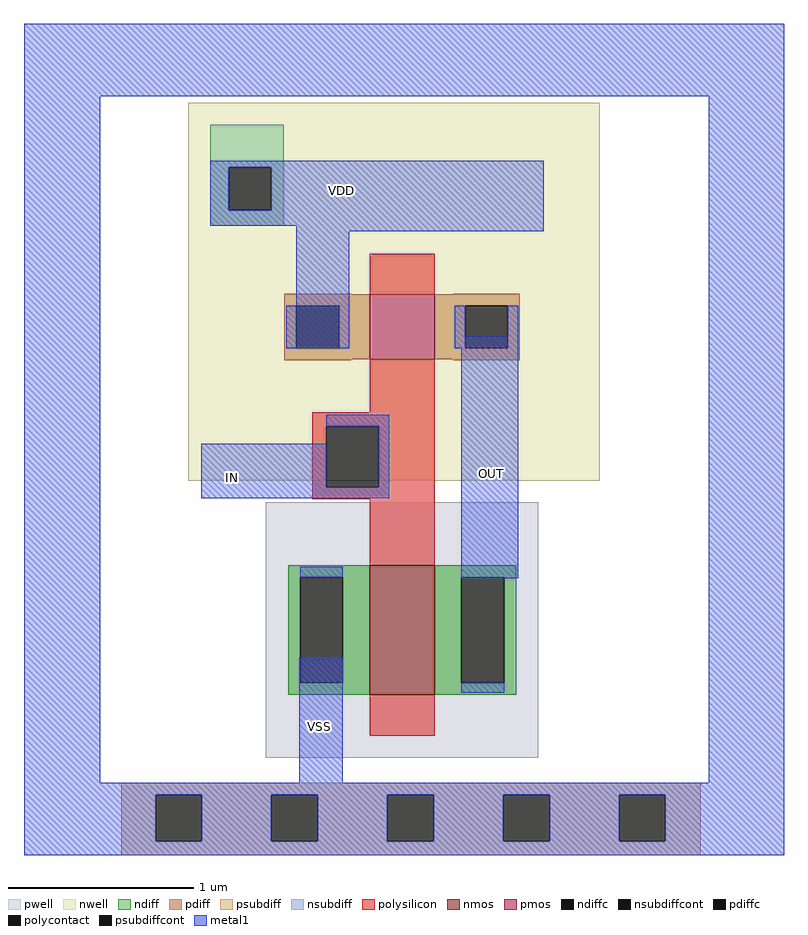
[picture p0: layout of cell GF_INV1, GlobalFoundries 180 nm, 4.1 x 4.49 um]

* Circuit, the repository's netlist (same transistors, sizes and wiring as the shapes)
* NGSPICE file created from GF_INV_1.ext - technology: gf180mcuC

.subckt nmos_3p3_AQSZEK a_n123_n70# a_35_n70# a_n35_n114# VSUBS
X0 a_35_n70# a_n35_n114# a_n123_n70# VSUBS nfet_03v3 ad=0.308p pd=2.28u as=0.308p ps=2.28u w=0.7u l=0.35u
.ends

.subckt pmos_3p3_HBGRPK w_n213_n166# a_35_n35# a_n35_n79# a_n127_n36#
X0 a_35_n35# a_n35_n79# a_n127_n36# w_n213_n166# pfet_03v3 ad=0.165p pd=1.64u as=0.165p ps=1.64u w=0.35u l=0.35u
.ends

.subckt GF_INV_1 VDD IN OUT VSS
Xnmos_3p3_AQSZEK_0 VSS OUT IN VSS nmos_3p3_AQSZEK
Xpmos_3p3_HBGRPK_0 VDD OUT IN VDD pmos_3p3_HBGRPK
.ends

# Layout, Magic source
magic
tech gf180mcuC
magscale 1 10
<< nwell >>
rect -54 624 390 757
rect -54 609 -13 624
rect 63 609 390 624
rect -54 578 390 609
rect -54 349 -16 578
<< psubdiff >>
rect -126 10 499 23
rect -126 -40 -89 10
rect -39 -40 36 10
rect 86 -40 161 10
rect 211 -40 286 10
rect 336 -40 411 10
rect 461 -40 499 10
rect -126 -55 499 -40
<< nsubdiff >>
rect -30 687 49 733
rect -30 641 -10 687
rect 36 641 49 687
rect -30 624 49 641
<< psubdiffcont >>
rect -89 -40 -39 10
rect 36 -40 86 10
rect 161 -40 211 10
rect 286 -40 336 10
rect 411 -40 461 10
<< nsubdiffcont >>
rect -10 641 36 687
<< polysilicon >>
rect 142 423 212 436
rect 80 408 212 423
rect 80 342 95 408
rect 152 342 212 408
rect 80 329 212 342
rect 142 302 212 329
<< polycontact >>
rect 95 342 152 408
<< metal1 >>
rect -231 764 589 842
rect -231 23 -149 764
rect -30 687 330 694
rect -30 641 -10 687
rect 36 641 330 687
rect -30 624 330 641
rect 63 618 330 624
rect 63 492 120 618
rect 95 408 163 420
rect -40 342 95 389
rect 152 342 163 408
rect -40 330 163 342
rect 241 244 302 505
rect 66 23 113 158
rect 508 23 589 764
rect -231 10 589 23
rect -231 -40 -89 10
rect -39 -40 36 10
rect 86 -40 161 10
rect 211 -40 286 10
rect 336 -40 411 10
rect 461 -40 589 10
rect -231 -55 589 -40
use nmos_3p3_AQSZEK  nmos_3p3_AQSZEK_0
transform 1 0 177 0 1 188
box -147 -138 147 138
use pmos_3p3_HBGRPK  pmos_3p3_HBGRPK_0
transform 1 0 177 0 1 515
box -213 -166 213 166
<< labels >>
flabel metal1 112 662 112 662 0 FreeSans 320 0 0 0 VDD
port 0 nsew
flabel metal1 -6 353 -6 353 0 FreeSans 320 0 0 0 IN
port 1 nsew
flabel metal1 273 357 273 357 0 FreeSans 320 0 0 0 OUT
port 2 nsew
flabel metal1 88 84 88 84 0 FreeSans 320 0 0 0 VSS
port 3 nsew
<< end >>

# cell nmos_3p3_AQSZEK: kit device nmos_3p3, w 0.7 l 0.35 m 1 nf 1 diffcov 100 polycov 100 guard 0 glc 0 grc 0 gtc 0 gbc 0 tbcov 100 rlcov 100 topc 0 botc 0 poverlap 0 doverlap 1 lmin 0.28 wmin 0.22 full_metal 0 compatible {nmos_3p3 nmos_6p0 nmos_6p0_nat}

# cell pmos_3p3_HBGRPK: kit device pmos_3p3, w 0.35 l 0.35 m 1 nf 1 diffcov 100 polycov 100 guard 0 glc 0 grc 0 gtc 0 gbc 0 tbcov 100 rlcov 100 topc 0 botc 0 poverlap 0 doverlap 1 lmin 0.28 wmin 0.22 full_metal 0 compatible {pmos_3p3 pmos_6p0}
